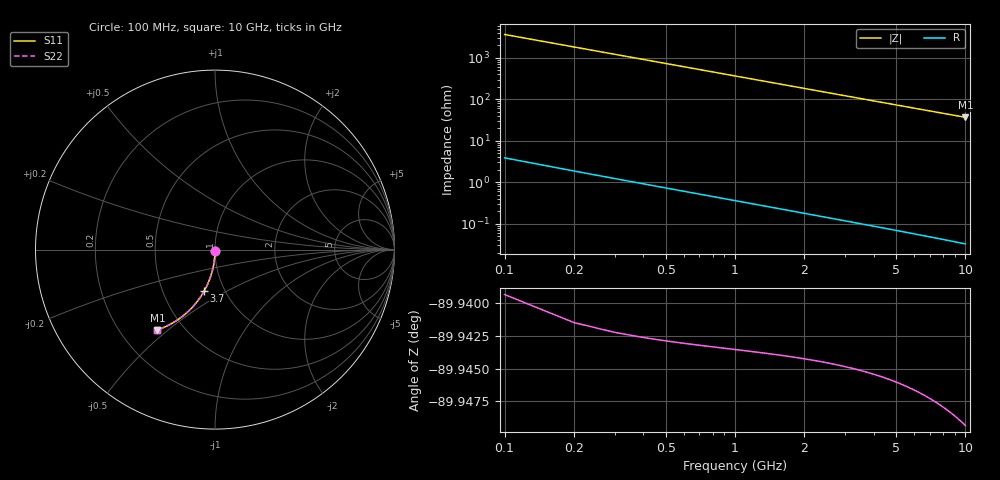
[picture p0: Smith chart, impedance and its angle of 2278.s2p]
# Hz S RI R 50.00
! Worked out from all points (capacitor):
!   100 points, 100 MHz to 10 GHz, reference 50 ohm
!   read as one part in shunt: C = 435 fF near 100 MHz
!   lowest |Z| = 36.8 ohm at 10 GHz (marker M1)
!   S11 on the Smith chart (normalised r, x): 100 MHz: 1.00, -0.01; 3.7 GHz: 0.80, -0.39; 10 GHz: 0.36, -0.46
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1e8  0.00012 -0.00664  0.9998 -0.00703  0.9998 -0.00703  0.00012 -0.00664
2e8  -2.56e-05 -0.0133  0.9996 -0.0141  0.9996 -0.0141  -2.56e-05 -0.0133
3e8  -0.000265 -0.0199  0.9994 -0.0211  0.9994 -0.0211  -0.000265 -0.0199
4e8  -0.000597 -0.0266  0.999 -0.0281  0.999 -0.0281  -0.000597 -0.0266
5e8  -0.00102 -0.0332  0.9986 -0.0351  0.9986 -0.0351  -0.00102 -0.0332
6e8  -0.00154 -0.0398  0.9981 -0.0421  0.9981 -0.0421  -0.00154 -0.0398
7e8  -0.00215 -0.0464  0.9975 -0.0491  0.9975 -0.0491  -0.00215 -0.0464
8e8  -0.00286 -0.053  0.9968 -0.0561  0.9968 -0.0561  -0.00286 -0.053
9e8  -0.00365 -0.0596  0.996 -0.063  0.996 -0.063  -0.00365 -0.0596
1.1e9  -0.00552 -0.0727  0.9941 -0.0769  0.9941 -0.0769  -0.00552 -0.0727
1.4e9  -0.00899 -0.0922  0.9906 -0.0976  0.9906 -0.0976  -0.00899 -0.0922
1.8e9  -0.0149 -0.1178  0.9848 -0.1247  0.9848 -0.1247  -0.0149 -0.1178
2.1e9  -0.0202 -0.1366  0.9794 -0.1448  0.9794 -0.1448  -0.0202 -0.1366
2.5e9  -0.0284 -0.1613  0.9712 -0.1709  0.9712 -0.1709  -0.0284 -0.1613
2.9e9  -0.0378 -0.1852  0.9617 -0.1965  0.9617 -0.1965  -0.0378 -0.1852
3.4e9  -0.0513 -0.2141  0.9482 -0.2272  0.9482 -0.2272  -0.0513 -0.2141
3.7e9  -0.0603 -0.2308  0.9393 -0.2451  0.9393 -0.2451  -0.0603 -0.2308
4.4e9  -0.0832 -0.2676  0.9163 -0.2846  0.9163 -0.2846  -0.0832 -0.2676
5.1e9  -0.1088 -0.3014  0.8906 -0.3211  0.8906 -0.3211  -0.1088 -0.3014
6.7e9  -0.1744 -0.3662  0.8249 -0.3922  0.8249 -0.3922  -0.1744 -0.3662
8.4e9  -0.2498 -0.4163  0.7493 -0.449  0.7493 -0.449  -0.2498 -0.4163
1e10  -0.3213 -0.4472  0.6775 -0.4862  0.6775 -0.4862  -0.3213 -0.4472
